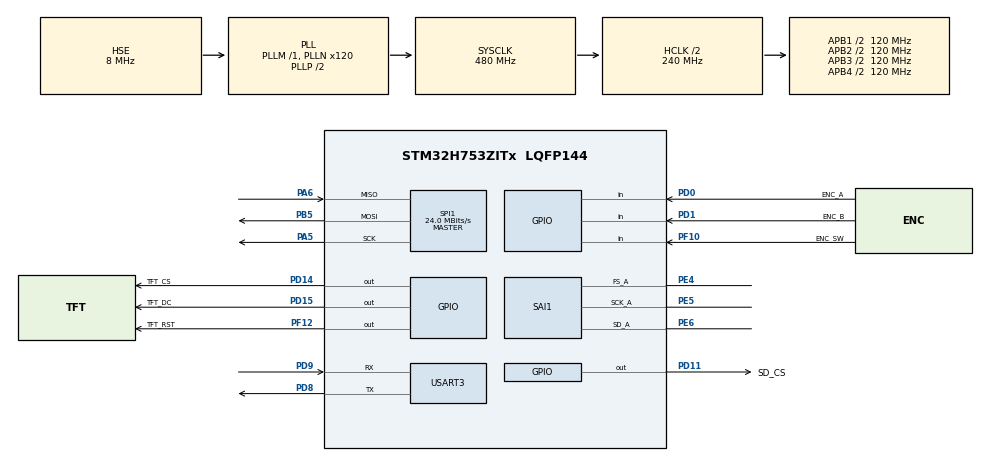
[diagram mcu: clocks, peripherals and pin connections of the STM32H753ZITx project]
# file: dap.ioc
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CORTEX_M7.CPU_DCache=Disabled
CORTEX_M7.CPU_ICache=Disabled
CORTEX_M7.MPU_Control=MPU_PRIVILEGED_DEFAULT
CORTEX_M7.default_mode_Activation=1
Dma.Request0=SAI1_A
Dma.SAI1_A.0.Direction=DMA_MEMORY_TO_PERIPH
Dma.SAI1_A.0.EventEnable=DISABLE
Dma.SAI1_A.0.FIFOMode=DMA_FIFOMODE_DISABLE
Dma.SAI1_A.0.Instance=DMA1_Stream0
Dma.SAI1_A.0.MemDataAlignment=DMA_MDATAALIGN_WORD
Dma.SAI1_A.0.MemInc=DMA_MINC_ENABLE
Dma.SAI1_A.0.Mode=DMA_CIRCULAR
Dma.SAI1_A.0.PeriphDataAlignment=DMA_PDATAALIGN_WORD
Dma.SAI1_A.0.PeriphInc=DMA_PINC_DISABLE
Dma.SAI1_A.0.Polarity=HAL_DMAMUX_REQ_GEN_RISING
Dma.SAI1_A.0.Priority=DMA_PRIORITY_HIGH
Dma.SAI1_A.0.RequestNumber=1
Dma.SAI1_A.0.SignalID=NONE
Dma.SAI1_A.0.SyncEnable=DISABLE
Dma.SAI1_A.0.SyncPolarity=HAL_DMAMUX_SYNC_NO_EVENT
Dma.SAI1_A.0.SyncRequestNumber=1
Dma.SAI1_A.0.SyncSignalID=NONE
FATFS._MAX_SS=512
FATFS._USE_LFN=1
Mcu.Family=STM32H7
Mcu.Name=STM32H753ZITx
Mcu.Package=LQFP144
NUCLEO-H753ZI.BUTTON=1
NUCLEO-H753ZI.LD1=true
NUCLEO-H753ZI.LD2=true
NUCLEO-H753ZI.LD3=true
NUCLEO-H753ZI.VCP=false
NVIC.DMA1_Stream0_IRQn=true\:0\:0\:false\:false\:true\:false\:true\:true
NVIC.EXTI15_10_IRQn=true\:0\:0\:false\:false\:true\:false\:true\:true
NVIC.PriorityGroup=NVIC_PRIORITYGROUP_4
NVIC.TIM6_DAC_IRQn=true\:0\:0\:false\:false\:true\:true\:true\:true
PA5.Mode=Full_Duplex_Master
PA5.Signal=SPI1_SCK
PA6.Mode=Full_Duplex_Master
PA6.Signal=SPI1_MISO
PB5.Mode=Full_Duplex_Master
PB5.Signal=SPI1_MOSI
PC14-OSC32_IN\ (OSC32_IN).Signal=RCC_OSC32_IN
PC15-OSC32_OUT\ (OSC32_OUT).Signal=RCC_OSC32_OUT
PD0.GPIO_Label=ENC_A
PD0.GPIO_PuPd=GPIO_PULLUP
PD0.Signal=GPIO_Input
PD1.GPIO_Label=ENC_B
PD1.GPIO_PuPd=GPIO_PULLUP
PD1.Signal=GPIO_Input
PD11.GPIO_Label=SD_CS
PD11.GPIO_Speed=GPIO_SPEED_FREQ_HIGH
PD11.PinState=GPIO_PIN_SET
PD11.Signal=GPIO_Output
PD14.GPIO_Label=TFT_CS
PD14.GPIO_Speed=GPIO_SPEED_FREQ_HIGH
PD14.PinState=GPIO_PIN_SET
PD14.Signal=GPIO_Output
PD15.GPIO_Label=TFT_DC
PD15.GPIO_Speed=GPIO_SPEED_FREQ_HIGH
PD15.Signal=GPIO_Output
PD8.Mode=Asynchronous
PD8.Signal=USART3_TX
PD9.Mode=Asynchronous
PD9.Signal=USART3_RX
PE4.Mode=SAI_A_Master
PE4.Signal=SAI1_FS_A
PE5.Mode=SAI_A_Master
PE5.Signal=SAI1_SCK_A
PE6.Mode=SAI_A_Master
PE6.Signal=SAI1_SD_A
PF10.GPIO_Label=ENC_SW
PF10.GPIO_PuPd=GPIO_PULLUP
PF10.Signal=GPIO_Input
PF12.GPIO_Label=TFT_RST
PF12.PinState=GPIO_PIN_SET
PF12.Signal=GPIO_Output
PH0-OSC_IN\ (PH0).Mode=HSE-External-Clock-Source
PH0-OSC_IN\ (PH0).Signal=RCC_OSC_IN
PH1-OSC_OUT\ (PH1).Signal=RCC_OSC_OUT
ProjectManager.HeapSize=0x200
ProjectManager.StackSize=0x400
ProjectManager.TargetToolchain=STM32CubeIDE
RCC.ADCFreq_Value=22579199.21875
RCC.APB1Freq_Value=120000000
RCC.APB2Freq_Value=120000000
RCC.APB3Freq_Value=120000000
RCC.APB4Freq_Value=120000000
RCC.CortexFreq_Value=480000000
RCC.D1PPRE=RCC_APB3_DIV2
RCC.D2PPRE1=RCC_APB1_DIV2
RCC.D2PPRE2=RCC_APB2_DIV2
RCC.D3PPRE=RCC_APB4_DIV2
RCC.DIVM1=1
RCC.DIVM2=1
RCC.DIVN1=120
RCC.DIVN2=56
RCC.DIVP2=20
RCC.DIVQ1=10
RCC.HCLKFreq_Value=240000000
RCC.HPRE=RCC_HCLK_DIV2
RCC.HSE_VALUE=8000000
RCC.PLL2FRACN=3670
RCC.PLL3FRACN=0
RCC.PLLFRACN=0
RCC.PLLSourceVirtual=RCC_PLLSOURCE_HSE
RCC.PWR_Regulator_Voltage_Scale=PWR_REGULATOR_VOLTAGE_SCALE0
RCC.SAI1CLockSelection=RCC_SAI1CLKSOURCE_PLL2
RCC.SYSCLKFreq_VALUE=480000000
RCC.SYSCLKSource=RCC_SYSCLKSOURCE_PLLCLK
RCC.USBFreq_Value=96000000
SAI1.AudioFrequency-SAI_A_Master=SAI_AUDIO_FREQUENCY_44K
SAI1.BasicDataSize-SAI_A_Master=SAI_PROTOCOL_DATASIZE_32BIT
SAI1.ErrorAudioFreq-SAI_A_Master=0.0 %
SAI1.FIFOThreshold-SAI_A_Master=SAI_FIFOTHRESHOLD_HF
SAI1.InitProtocol-SAI_A_Master=Enable
SAI1.Instance-SAI_A_Master=SAI$Index_Block_A
SAI1.MClockEnable-SAI_A_Master=SAI_MASTERCLOCK_DISABLE
SAI1.RealAudioFreq-SAI_A_Master=44.099 KHz
SAI1.VirtualMode-SAI_A_Master=VM_MASTER
SAI1.VirtualProtocol-SAI_A_BASIC=VM_BASIC_PROTOCOL
SPI1.BaudRatePrescaler=SPI_BAUDRATEPRESCALER_4
SPI1.CalculateBaudRate=24.0 MBits/s
SPI1.DataSize=SPI_DATASIZE_8BIT
SPI1.Direction=SPI_DIRECTION_2LINES
SPI1.Mode=SPI_MODE_MASTER
SPI1.VirtualType=VM_MASTER
TIM6.Period=999
TIM6.Prescaler=119
USART3.TxPinLevelInvertParam=ADVFEATURE_TXINV_DISABLE
USART3.VirtualMode-Asynchronous=VM_ASYNC
VP_FATFS_VS_Generic.Mode=User_defined
VP_MEMORYMAP_VS_MEMORYMAP.Mode=CurAppReg
VP_NUCLEO-H753ZI_VS_BSP_COMMON.Mode=COMMON
VP_SAI1_VP_$IpInstance_SAIA_SAI_BASIC.Mode=SAI_A_BASIC
VP_TIM6_VS_ClockSourceINT.Mode=Enable_Timer
board=NUCLEO-H753ZI

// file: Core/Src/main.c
/* USER CODE BEGIN Header */
/**
  ******************************************************************************
  * @file           : main.c
  * @brief          : Main program body
  ******************************************************************************
  * @attention
  *
  * Copyright (c) 2026 STMicroelectronics.
  * All rights reserved.
  *
  * This software is licensed under terms that can be found in the LICENSE file
  * in the root directory of this software component.
  * If no LICENSE file comes with this software, it is provided AS-IS.
  *
  ******************************************************************************
  */
/* USER CODE END Header */
#include "main.h"
#include "fatfs.h"

/* USER CODE BEGIN Includes */
#include <stdio.h>
#include "gfx.h"
#include "st7789.h"
#include "screen_library.h"
#include "theme.h"
#include "encoder.h"
#include "platform_ui.h"
#include "platform_library.h"
#include <string.h>
/* USER CODE END Includes */

SAI_HandleTypeDef hsai_BlockA1;
DMA_HandleTypeDef hdma_sai1_a;

SPI_HandleTypeDef hspi1;

TIM_HandleTypeDef htim6;

UART_HandleTypeDef huart3;

/* USER CODE BEGIN PV */

#define RGB565_RED 0xF800
static uint16_t fb_storage[SCREEN_W * SCREEN_H];   /* 150 KB, AXI SRAM */
static gfx_t    fb;
static st7789_t tft;
extern const st7789_bus_t platform_st7789_bus;
void plat_audio_init(SAI_HandleTypeDef *hsai);
int  plat_audio_play(const char *path);
void plat_audio_service(void);

static encoder_t enc;
static volatile int enc_delta = 0;

static volatile int  btn_event_pending = 0;

extern const st7789_bus_t platform_st7789_bus;
int plat_sai_start_tone(SAI_HandleTypeDef *hsai);

/* USER CODE END PV */

void SystemClock_Config(void);
static void MPU_Config(void);
static void MX_GPIO_Init(void);
static void MX_DMA_Init(void);
static void MX_SAI1_Init(void);
static void MX_SPI1_Init(void);
static void MX_USART3_UART_Init(void);
static void MX_TIM6_Init(void);

int main(void)
{

  /* MPU Configuration--------------------------------------------------------*/
  MPU_Config();

  /* MCU Configuration--------------------------------------------------------*/

  /* Reset of all peripherals, Initializes the Flash interface and the Systick. */
  HAL_Init();

  /* Configure the system clock */
  SystemClock_Config();

  /* Initialize all configured peripherals */
  MX_GPIO_Init();
  MX_DMA_Init();
  MX_SAI1_Init();
  MX_SPI1_Init();
  MX_USART3_UART_Init();
  MX_TIM6_Init();
  MX_FATFS_Init();
  /* USER CODE BEGIN 2 */

  printf("\r\n=== DAP ===\r\n");

    /* SD shares SPI1 — keep its CS deasserted or it fights the display. */
    HAL_GPIO_WritePin(SD_CS_GPIO_Port, SD_CS_Pin, GPIO_PIN_SET);
    HAL_GPIO_WritePin(TFT_CS_GPIO_Port, TFT_CS_Pin, GPIO_PIN_SET);

    gfx_init(&fb, fb_storage, SCREEN_W, SCREEN_H);
    /* Landscape. If the picture comes up upside down, use 3 instead. */
    st7789_init(&tft, &platform_st7789_bus, 3);

    /* Green flash proves the panel is alive. The panel retains its last
     * image across resets, so this must be a colour no screen uses. */
    st7789_fill_screen(&tft, st7789_rgb(0, 255, 0));
    HAL_Delay(200);

    encoder_init(&enc,
                 HAL_GPIO_ReadPin(ENC_A_GPIO_Port,  ENC_A_Pin)  == GPIO_PIN_RESET,
                 HAL_GPIO_ReadPin(ENC_B_GPIO_Port,  ENC_B_Pin)  == GPIO_PIN_RESET,
                 HAL_GPIO_ReadPin(ENC_SW_GPIO_Port, ENC_SW_Pin) == GPIO_PIN_RESET);

    HAL_TIM_Base_Start_IT(&htim6);

    {
        FRESULT fr = f_mount(&USERFatFS, USERPath, 1);   /* 1 = mount now */
        printf("f_mount: %d\r\n", fr);
        if (fr == FR_OK) {
            dap_library_init(0);
            /* NULL when the index failed to open — browse stays empty and
             * safe rather than crashing, and the VCP already said why. */
            dap_ui_init(&fb, &tft, dap_library());
        }
    }

    plat_audio_init(&hsai_BlockA1);

  /* USER CODE END 2 */

  /* Infinite loop */
  /* USER CODE BEGIN WHILE */
  bool redraw = true;

  while (1)
  {
    /* USER CODE END WHILE */

    /* USER CODE BEGIN 3 */
  plat_audio_service();

  int delta;
  int btn;

  __disable_irq();
  delta = enc_delta;
  enc_delta = 0;
  btn = btn_event_pending;
  btn_event_pending = 0;
  __enable_irq();

  dap_ui_input(delta, btn);
  dap_ui_tick();
  }

  /* USER CODE END 3 */
}

void SystemClock_Config(void)
{
  RCC_OscInitTypeDef RCC_OscInitStruct = {0};
  RCC_ClkInitTypeDef RCC_ClkInitStruct = {0};

  /** Supply configuration update enable
  */
  HAL_PWREx_ConfigSupply(PWR_LDO_SUPPLY);

  /** Configure the main internal regulator output voltage
  */
  __HAL_PWR_VOLTAGESCALING_CONFIG(PWR_REGULATOR_VOLTAGE_SCALE0);

  while(!__HAL_PWR_GET_FLAG(PWR_FLAG_VOSRDY)) {}

  /** Initializes the RCC Oscillators according to the specified parameters
  * in the RCC_OscInitTypeDef structure.
  */
  RCC_OscInitStruct.OscillatorType = RCC_OSCILLATORTYPE_HSE;
  RCC_OscInitStruct.HSEState = RCC_HSE_BYPASS;
  RCC_OscInitStruct.PLL.PLLState = RCC_PLL_ON;
  RCC_OscInitStruct.PLL.PLLSource = RCC_PLLSOURCE_HSE;
  RCC_OscInitStruct.PLL.PLLM = 1;
  RCC_OscInitStruct.PLL.PLLN = 120;
  RCC_OscInitStruct.PLL.PLLP = 2;
  RCC_OscInitStruct.PLL.PLLQ = 10;
  RCC_OscInitStruct.PLL.PLLR = 2;
  RCC_OscInitStruct.PLL.PLLRGE = RCC_PLL1VCIRANGE_3;
  RCC_OscInitStruct.PLL.PLLVCOSEL = RCC_PLL1VCOWIDE;
  RCC_OscInitStruct.PLL.PLLFRACN = 0;
  if (HAL_RCC_OscConfig(&RCC_OscInitStruct) != HAL_OK)
  {
    Error_Handler();
  }

  /** Initializes the CPU, AHB and APB buses clocks
  */
  RCC_ClkInitStruct.ClockType = RCC_CLOCKTYPE_HCLK|RCC_CLOCKTYPE_SYSCLK
                              |RCC_CLOCKTYPE_PCLK1|RCC_CLOCKTYPE_PCLK2
                              |RCC_CLOCKTYPE_D3PCLK1|RCC_CLOCKTYPE_D1PCLK1;
  RCC_ClkInitStruct.SYSCLKSource = RCC_SYSCLKSOURCE_PLLCLK;
  RCC_ClkInitStruct.SYSCLKDivider = RCC_SYSCLK_DIV1;
  RCC_ClkInitStruct.AHBCLKDivider = RCC_HCLK_DIV2;
  RCC_ClkInitStruct.APB3CLKDivider = RCC_APB3_DIV2;
  RCC_ClkInitStruct.APB1CLKDivider = RCC_APB1_DIV2;
  RCC_ClkInitStruct.APB2CLKDivider = RCC_APB2_DIV2;
  RCC_ClkInitStruct.APB4CLKDivider = RCC_APB4_DIV2;

  if (HAL_RCC_ClockConfig(&RCC_ClkInitStruct, FLASH_LATENCY_4) != HAL_OK)
  {
    Error_Handler();
  }
}

static void MX_SAI1_Init(void)
{

  hsai_BlockA1.Instance = SAI1_Block_A;
  hsai_BlockA1.Init.AudioMode = SAI_MODEMASTER_TX;
  hsai_BlockA1.Init.Synchro = SAI_ASYNCHRONOUS;
  hsai_BlockA1.Init.OutputDrive = SAI_OUTPUTDRIVE_DISABLE;
  hsai_BlockA1.Init.NoDivider = SAI_MASTERDIVIDER_ENABLE;
  hsai_BlockA1.Init.MckOverSampling = SAI_MCK_OVERSAMPLING_DISABLE;
  hsai_BlockA1.Init.FIFOThreshold = SAI_FIFOTHRESHOLD_HF;
  hsai_BlockA1.Init.AudioFrequency = SAI_AUDIO_FREQUENCY_44K;
  hsai_BlockA1.Init.SynchroExt = SAI_SYNCEXT_DISABLE;
  hsai_BlockA1.Init.MonoStereoMode = SAI_STEREOMODE;
  hsai_BlockA1.Init.CompandingMode = SAI_NOCOMPANDING;
  hsai_BlockA1.Init.TriState = SAI_OUTPUT_NOTRELEASED;
  if (HAL_SAI_InitProtocol(&hsai_BlockA1, SAI_I2S_STANDARD, SAI_PROTOCOL_DATASIZE_32BIT, 2) != HAL_OK)
  {
    Error_Handler();
  }

}

static void MX_SPI1_Init(void)
{

  /* SPI1 parameter configuration*/
  hspi1.Instance = SPI1;
  hspi1.Init.Mode = SPI_MODE_MASTER;
  hspi1.Init.Direction = SPI_DIRECTION_2LINES;
  hspi1.Init.DataSize = SPI_DATASIZE_8BIT;
  hspi1.Init.CLKPolarity = SPI_POLARITY_LOW;
  hspi1.Init.CLKPhase = SPI_PHASE_1EDGE;
  hspi1.Init.NSS = SPI_NSS_SOFT;
  hspi1.Init.BaudRatePrescaler = SPI_BAUDRATEPRESCALER_4;
  hspi1.Init.FirstBit = SPI_FIRSTBIT_MSB;
  hspi1.Init.TIMode = SPI_TIMODE_DISABLE;
  hspi1.Init.CRCCalculation = SPI_CRCCALCULATION_DISABLE;
  hspi1.Init.CRCPolynomial = 0x0;
  hspi1.Init.NSSPMode = SPI_NSS_PULSE_ENABLE;
  hspi1.Init.NSSPolarity = SPI_NSS_POLARITY_LOW;
  hspi1.Init.FifoThreshold = SPI_FIFO_THRESHOLD_01DATA;
  hspi1.Init.TxCRCInitializationPattern = SPI_CRC_INITIALIZATION_ALL_ZERO_PATTERN;
  hspi1.Init.RxCRCInitializationPattern = SPI_CRC_INITIALIZATION_ALL_ZERO_PATTERN;
  hspi1.Init.MasterSSIdleness = SPI_MASTER_SS_IDLENESS_00CYCLE;
  hspi1.Init.MasterInterDataIdleness = SPI_MASTER_INTERDATA_IDLENESS_00CYCLE;
  hspi1.Init.MasterReceiverAutoSusp = SPI_MASTER_RX_AUTOSUSP_DISABLE;
  hspi1.Init.MasterKeepIOState = SPI_MASTER_KEEP_IO_STATE_DISABLE;
  hspi1.Init.IOSwap = SPI_IO_SWAP_DISABLE;
  if (HAL_SPI_Init(&hspi1) != HAL_OK)
  {
    Error_Handler();
  }
  /* USER CODE BEGIN SPI1_Init 2 */

  /* Keep the SPI pins driven while the peripheral is disabled.
   * plat_sd_set_speed leaves SPI1 disabled between transfers (CFG1 is
   * only writable when disabled), and without this the pins are
   * released and SCK does not idle cleanly. */
  SET_BIT(hspi1.Instance->CFG2, SPI_CFG2_AFCNTR);

  /* USER CODE END SPI1_Init 2 */

}

static void MX_TIM6_Init(void)
{

  TIM_MasterConfigTypeDef sMasterConfig = {0};

  htim6.Instance = TIM6;
  htim6.Init.Prescaler = 119;
  htim6.Init.CounterMode = TIM_COUNTERMODE_UP;
  htim6.Init.Period = 999;
  htim6.Init.AutoReloadPreload = TIM_AUTORELOAD_PRELOAD_DISABLE;
  if (HAL_TIM_Base_Init(&htim6) != HAL_OK)
  {
    Error_Handler();
  }
  sMasterConfig.MasterOutputTrigger = TIM_TRGO_RESET;
  sMasterConfig.MasterSlaveMode = TIM_MASTERSLAVEMODE_DISABLE;
  if (HAL_TIMEx_MasterConfigSynchronization(&htim6, &sMasterConfig) != HAL_OK)
  {
    Error_Handler();
  }

}

static void MX_USART3_UART_Init(void)
{

  huart3.Instance = USART3;
  huart3.Init.BaudRate = 115200;
  huart3.Init.WordLength = UART_WORDLENGTH_8B;
  huart3.Init.StopBits = UART_STOPBITS_1;
  huart3.Init.Parity = UART_PARITY_NONE;
  huart3.Init.Mode = UART_MODE_TX_RX;
  huart3.Init.HwFlowCtl = UART_HWCONTROL_NONE;
  huart3.Init.OverSampling = UART_OVERSAMPLING_16;
  huart3.Init.OneBitSampling = UART_ONE_BIT_SAMPLE_DISABLE;
  huart3.Init.ClockPrescaler = UART_PRESCALER_DIV1;
  huart3.AdvancedInit.AdvFeatureInit = UART_ADVFEATURE_NO_INIT;
  if (HAL_UART_Init(&huart3) != HAL_OK)
  {
    Error_Handler();
  }
  if (HAL_UARTEx_SetTxFifoThreshold(&huart3, UART_TXFIFO_THRESHOLD_1_8) != HAL_OK)
  {
    Error_Handler();
  }
  if (HAL_UARTEx_SetRxFifoThreshold(&huart3, UART_RXFIFO_THRESHOLD_1_8) != HAL_OK)
  {
    Error_Handler();
  }
  if (HAL_UARTEx_DisableFifoMode(&huart3) != HAL_OK)
  {
    Error_Handler();
  }

}

static void MX_DMA_Init(void)
{

  /* DMA controller clock enable */
  __HAL_RCC_DMA1_CLK_ENABLE();

  /* DMA interrupt init */
  /* DMA1_Stream0_IRQn interrupt configuration */
  HAL_NVIC_SetPriority(DMA1_Stream0_IRQn, 0, 0);
  HAL_NVIC_EnableIRQ(DMA1_Stream0_IRQn);

}

static void MX_GPIO_Init(void)
{
  GPIO_InitTypeDef GPIO_InitStruct = {0};

  /* GPIO Ports Clock Enable */
  __HAL_RCC_GPIOE_CLK_ENABLE();
  __HAL_RCC_GPIOC_CLK_ENABLE();
  __HAL_RCC_GPIOF_CLK_ENABLE();
  __HAL_RCC_GPIOH_CLK_ENABLE();
  __HAL_RCC_GPIOA_CLK_ENABLE();
  __HAL_RCC_GPIOD_CLK_ENABLE();
  __HAL_RCC_GPIOB_CLK_ENABLE();

  /*Configure GPIO pin Output Level */
  HAL_GPIO_WritePin(TFT_RST_GPIO_Port, TFT_RST_Pin, GPIO_PIN_SET);

  /*Configure GPIO pin Output Level */
  HAL_GPIO_WritePin(GPIOD, SD_CS_Pin|TFT_CS_Pin, GPIO_PIN_SET);

  /*Configure GPIO pin Output Level */
  HAL_GPIO_WritePin(TFT_DC_GPIO_Port, TFT_DC_Pin, GPIO_PIN_RESET);

  /*Configure GPIO pin : ENC_SW_Pin */
  GPIO_InitStruct.Pin = ENC_SW_Pin;
  GPIO_InitStruct.Mode = GPIO_MODE_INPUT;
  GPIO_InitStruct.Pull = GPIO_PULLUP;
  HAL_GPIO_Init(ENC_SW_GPIO_Port, &GPIO_InitStruct);

  /*Configure GPIO pin : TFT_RST_Pin */
  GPIO_InitStruct.Pin = TFT_RST_Pin;
  GPIO_InitStruct.Mode = GPIO_MODE_OUTPUT_PP;
  GPIO_InitStruct.Pull = GPIO_NOPULL;
  GPIO_InitStruct.Speed = GPIO_SPEED_FREQ_LOW;
  HAL_GPIO_Init(TFT_RST_GPIO_Port, &GPIO_InitStruct);

  /*Configure GPIO pins : SD_CS_Pin TFT_CS_Pin TFT_DC_Pin */
  GPIO_InitStruct.Pin = SD_CS_Pin|TFT_CS_Pin|TFT_DC_Pin;
  GPIO_InitStruct.Mode = GPIO_MODE_OUTPUT_PP;
  GPIO_InitStruct.Pull = GPIO_NOPULL;
  GPIO_InitStruct.Speed = GPIO_SPEED_FREQ_HIGH;
  HAL_GPIO_Init(GPIOD, &GPIO_InitStruct);

  /*Configure GPIO pins : ENC_A_Pin ENC_B_Pin */
  GPIO_InitStruct.Pin = ENC_A_Pin|ENC_B_Pin;
  GPIO_InitStruct.Mode = GPIO_MODE_INPUT;
  GPIO_InitStruct.Pull = GPIO_PULLUP;
  HAL_GPIO_Init(GPIOD, &GPIO_InitStruct);

}

/* USER CODE BEGIN 4 */
int _write(int file, char *ptr, int len)
{
  HAL_UART_Transmit(&huart3, (uint8_t *)ptr, len, HAL_MAX_DELAY);
  return len;

}

void HAL_TIM_PeriodElapsedCallback(TIM_HandleTypeDef *htim)
{
  if (htim->Instance == TIM6) {
      bool a = HAL_GPIO_ReadPin(ENC_A_GPIO_Port, ENC_A_Pin) == GPIO_PIN_RESET;
      bool b = HAL_GPIO_ReadPin(ENC_B_GPIO_Port, ENC_B_Pin) == GPIO_PIN_RESET;

      int step = encoder_update(&enc, a, b);
      if (step != 0) {
          enc_delta += step;
      }

      bool sw = HAL_GPIO_ReadPin(ENC_SW_GPIO_Port, ENC_SW_Pin) == GPIO_PIN_RESET;
      btn_event_t ev = encoder_button(&enc, sw, HAL_GetTick());
      if (ev == BTN_CLICK) {
          btn_event_pending = 1;      /* descend */
      } else if (ev == BTN_LONG_PRESS) {
          btn_event_pending = 2;      /* back */
      }
  }
}

static void hexdump(const uint8_t *p, unsigned n)
{
  for (unsigned i = 0; i < n; i += 16) {
    printf("%04X: ", i);
    for (unsigned j = 0; j < 16; j++) {
      if (i + j < n) printf("%02X ", p[i + j]);
      else           printf("   ");
    }
    printf(" |");
    for (unsigned j = 0; j < 16 && i + j < n; j++) {
      uint8_t c = p[i + j];
      printf("%c", (c >= 32 && c < 127) ? (char)c : '.');
    }
    printf("|\r\n");
  }
}

/* USER CODE END 4 */

 /* MPU Configuration */

void MPU_Config(void)
{
  MPU_Region_InitTypeDef MPU_InitStruct = {0};

  /* Disables the MPU */
  HAL_MPU_Disable();

  /** Initializes and configures the Region and the memory to be protected
  */
  MPU_InitStruct.Enable = MPU_REGION_ENABLE;
  MPU_InitStruct.Number = MPU_REGION_NUMBER0;
  MPU_InitStruct.BaseAddress = 0x0;
  MPU_InitStruct.Size = MPU_REGION_SIZE_4GB;
  MPU_InitStruct.SubRegionDisable = 0x87;
  MPU_InitStruct.TypeExtField = MPU_TEX_LEVEL0;
  MPU_InitStruct.AccessPermission = MPU_REGION_NO_ACCESS;
  MPU_InitStruct.DisableExec = MPU_INSTRUCTION_ACCESS_DISABLE;
  MPU_InitStruct.IsShareable = MPU_ACCESS_SHAREABLE;
  MPU_InitStruct.IsCacheable = MPU_ACCESS_NOT_CACHEABLE;
  MPU_InitStruct.IsBufferable = MPU_ACCESS_NOT_BUFFERABLE;

  HAL_MPU_ConfigRegion(&MPU_InitStruct);
  /* Enables the MPU */
  HAL_MPU_Enable(MPU_PRIVILEGED_DEFAULT);

}

void Error_Handler(void)
{
  __disable_irq();
  while (1)
  {
  }
}
